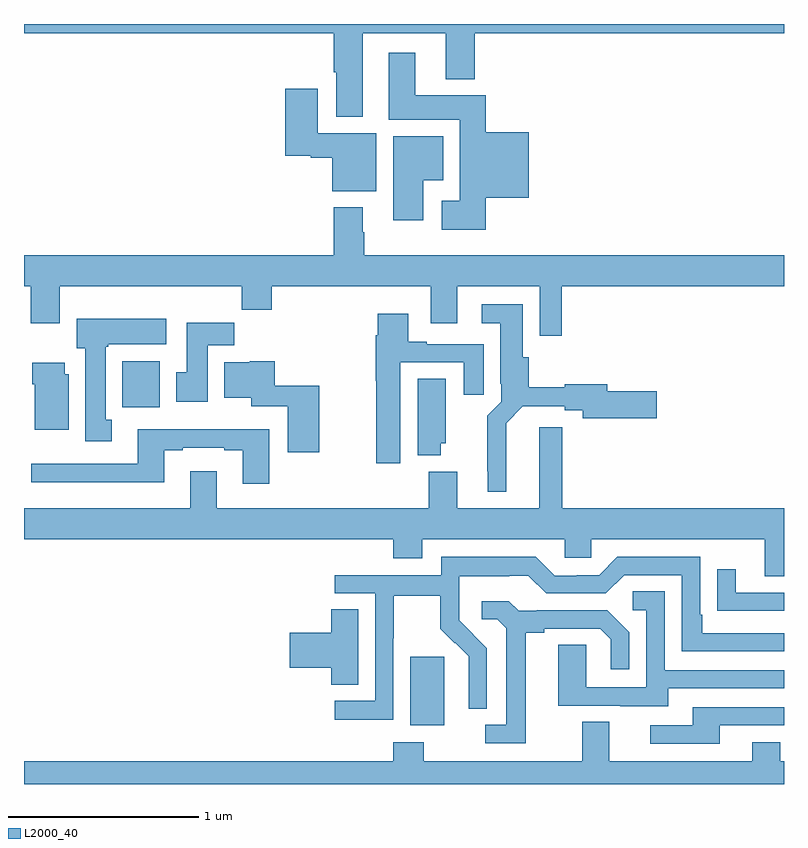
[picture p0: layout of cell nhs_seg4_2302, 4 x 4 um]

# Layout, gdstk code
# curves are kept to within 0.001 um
import gdstk
lib = gdstk.Library(unit=1e-6, precision=1e-09)
def R(c, l, rs):  # rectangles x0, y0, x1, y1
    for r in rs: c.add(gdstk.rectangle(r[:2], r[2:], *l))
def P(c, l, *ps):  # polygons
    for p in ps: c.add(gdstk.Polygon(p, *l))
L2000_40 = (2000, 40)

nhs_seg4_2302 = lib.new_cell('nhs_seg4_2302')
R(nhs_seg4_2302, L2000_40, [(233.033,761.21,233.212,761.571), (231.518,762.884,231.715,763.126)])
P(nhs_seg4_2302, L2000_40, [(232.783,764.852),(233.219,764.852),(233.219,764.609),(233.372,764.609),(233.372,764.852),(235,764.852),(235,764.9),(231,764.9),(231,764.852),(232.631,764.852),(232.631,764.647),(232.643,764.647),(232.643,764.411),(232.783,764.411)],
  [(233.429,763.985),(233.656,763.985),(233.656,764.329),(233.429,764.329),(233.429,764.524),(233.059,764.524),(233.059,764.749),(232.919,764.749),(232.919,764.396),(233.294,764.396),(233.294,763.969),(233.199,763.969),(233.199,763.817),(233.429,763.817)],
  [(232.855,764.326),(232.546,764.326),(232.546,764.56),(232.376,764.56),(232.376,764.207),(232.509,764.207),(232.509,764.195),(232.622,764.195),(232.622,764.021),(232.855,764.021)],
  [(233.101,764.078),(233.206,764.078),(233.206,764.308),(232.943,764.308),(232.943,763.866),(233.101,763.866)],
  [(233.831,763.52),(235,763.52),(235,763.684),(232.791,763.684),(232.791,763.805),(232.783,763.805),(232.783,763.936),(232.631,763.936),(232.631,763.684),(231,763.684),(231,763.52),(231.035,763.52),(231.035,763.326),(231.187,763.326),(231.187,763.52),(232.147,763.52),(232.147,763.396),(232.304,763.396),(232.304,763.52),(233.141,763.52),(233.141,763.326),(233.281,763.326),(233.281,763.52),(233.715,763.52),(233.715,763.26),(233.831,763.26)],
  [(233.539,762.8),(233.626,762.888),(233.846,762.888),(233.846,762.868),(233.942,762.868),(233.942,762.826),(234.331,762.826),(234.331,762.968),(234.07,762.968),(234.07,763.004),(233.846,763.004),(233.846,762.989),(233.657,762.989),(233.657,763.146),(233.626,763.146),(233.626,763.426),(233.409,763.426),(233.409,763.325),(233.507,763.325),(233.507,763.006),(233.511,763.006),(233.511,762.912),(233.437,762.838),(233.437,762.547),(233.441,762.547),(233.441,762.437),(233.539,762.437)],
  [(232.981,763.119),(233.315,763.119),(233.315,762.948),(233.419,762.948),(233.419,763.215),(233.119,763.215),(233.119,763.228),(233.023,763.228),(233.023,763.375),(232.862,763.375),(232.862,763.262),(232.85,763.262),(232.85,763.022),(232.855,763.022),(232.855,762.588),(232.981,762.588)],
  [(231.463,762.818),(231.43,762.818),(231.43,763.201),(231.444,763.201),(231.444,763.214),(231.748,763.214),(231.748,763.348),(231.278,763.348),(231.278,763.194),(231.323,763.194),(231.323,762.705),(231.463,762.705)],
  [(231.967,763.208),(232.106,763.208),(232.106,763.327),(231.857,763.327),(231.857,763.068),(231.8,763.068),(231.8,762.912),(231.967,762.912)],
  [(232.554,762.997),(232.319,762.997),(232.319,763.126),(232.188,763.126),(232.188,763.12),(232.055,763.12),(232.055,762.932),(232.196,762.932),(232.196,762.887),(232.388,762.887),(232.388,762.645),(232.554,762.645)],
  [(231.235,763.056),(231.214,763.056),(231.214,763.117),(231.044,763.117),(231.044,763.004),(231.056,763.004),(231.056,762.764),(231.235,762.764)],
  [(233.194,762.693),(233.221,762.693),(233.221,763.034),(233.072,763.034),(233.072,762.629),(233.194,762.629)],
  [(235,762.352),(233.834,762.352),(233.834,762.778),(233.711,762.778),(233.711,762.352),(233.281,762.352),(233.281,762.544),(233.129,762.544),(233.129,762.352),(232.015,762.352),(232.015,762.547),(231.875,762.547),(231.875,762.352),(231,762.352),(231,762.188),(232.943,762.188),(232.943,762.089),(233.095,762.089),(233.095,762.188),(233.847,762.188),(233.847,762.09),(233.985,762.09),(233.985,762.188),(234.899,762.188),(234.899,761.994),(235,761.994)],
  [(232.291,762.766),(231.599,762.766),(231.599,762.585),(231.039,762.585),(231.039,762.488),(231.739,762.488),(231.739,762.657),(231.835,762.657),(231.835,762.669),(232.055,762.669),(232.055,762.657),(232.151,762.657),(232.151,762.48),(232.291,762.48)],
  [(232.944,761.668),(232.947,761.668),(232.947,761.892),(233.191,761.892),(233.191,761.717),(233.268,761.64),(233.271,761.643),(233.342,761.573),(233.342,761.45),(233.34,761.45),(233.34,761.296),(233.436,761.296),(233.436,761.614),(233.29,761.762),(233.29,761.859),(233.292,761.859),(233.292,761.993),(233.555,761.993),(233.555,761.997),(233.655,761.997),(233.748,761.904),(234.063,761.904),(234.159,762),(234.462,762),(234.462,761.598),(235,761.598),(235,761.694),(234.571,761.694),(234.571,761.791),(234.558,761.791),(234.558,762.096),(234.123,762.096),(234.027,762),(233.909,762),(233.909,761.997),(233.793,761.997),(233.693,762.097),(233.196,762.097),(233.196,762),(232.635,762),(232.635,761.904),(232.848,761.904),(232.848,761.337),(232.635,761.337),(232.635,761.239),(232.944,761.239)],
  [(235,761.907),(234.745,761.907),(234.745,762.031),(234.649,762.031),(234.649,761.812),(234.751,761.812),(234.751,761.811),(235,761.811)],
  [(234.391,761.403),(235,761.403),(235,761.499),(234.372,761.499),(234.372,761.915),(234.204,761.915),(234.204,761.814),(234.276,761.814),(234.276,761.409),(233.958,761.409),(233.958,761.633),(233.813,761.633),(233.813,761.313),(234.137,761.313),(234.137,761.309),(234.391,761.309)],
  [(233.641,761.696),(233.737,761.696),(233.737,761.718),(234.032,761.718),(234.089,761.661),(234.089,761.505),(234.186,761.505),(234.186,761.698),(234.07,761.814),(233.698,761.814),(233.698,761.811),(233.604,761.811),(233.552,761.863),(233.409,761.863),(233.409,761.766),(233.49,761.766),(233.537,761.719),(233.537,761.211),(233.427,761.211),(233.427,761.115),(233.641,761.115)],
  [(232.759,761.819),(232.616,761.819),(232.616,761.696),(232.398,761.696),(232.398,761.513),(232.616,761.513),(232.616,761.422),(232.759,761.422)],
  [(234.661,761.208),(235,761.208),(235,761.304),(234.521,761.304),(234.521,761.208),(234.297,761.208),(234.297,761.112),(234.661,761.112)],
  [(235,761.02),(234.981,761.02),(234.981,761.119),(234.833,761.119),(234.833,761.02),(234.079,761.02),(234.079,761.228),(233.939,761.228),(233.939,761.02),(233.103,761.02),(233.103,761.119),(232.943,761.119),(232.943,761.02),(231,761.02),(231,760.9),(235,760.9)])

lib.write_gds('nhs_seg4_2302.gds')
